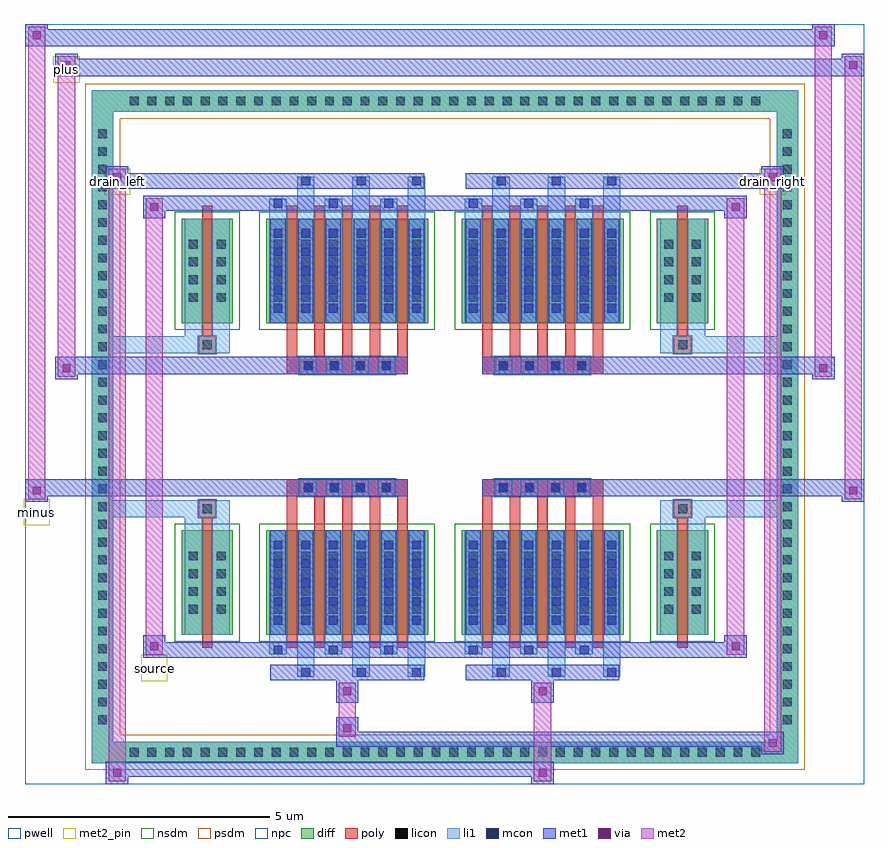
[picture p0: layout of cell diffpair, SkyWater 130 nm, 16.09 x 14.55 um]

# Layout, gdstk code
import gdstk
lib = gdstk.Library(unit=1e-6, precision=5e-09)
def R(c, l, rs):  # rectangles x0, y0, x1, y1
    for r in rs: c.add(gdstk.rectangle(r[:2], r[2:], *l))
def A(c, l, x, y, w, h, nx, ny, dx, dy):  # array of equal rectangles
    R(c, l, [(x+i*dx, y+j*dy, x+i*dx+w, y+j*dy+h) for i in range(nx) for j in range(ny)])
def P(c, l, *ps):  # polygons
    for p in ps: c.add(gdstk.Polygon(p, *l))
pwell = (64, 44)
diff = (65, 20)
poly = (66, 20)
licon = (66, 44)
li1 = (67, 20)
mcon = (67, 44)
met1 = (68, 20)
via = (68, 44)
met2_pin = (69, 16)
met2 = (69, 20)
nsdm = (93, 44)
psdm = (94, 20)
npc = (95, 20)

diffpair = lib.new_cell('diffpair')
R(diffpair, pwell, [(-8.03,-6.84,8.03,7.71), (-5.35,-5.03,-0.01,-0.805), (0.01,-5.03,5.35,-0.805), (-5.35,0.805,-0.01,5.03), (0.01,0.805,5.35,5.03)])
A(diffpair, diff, -6.155, -6.44, 0.41, 0.41, 36, 2, 0.34, 12.47)
A(diffpair, diff, -6.76, -5.815, 0.41, 0.41, 1, 34, 0, 0.34)
A(diffpair, diff, 6.35, -5.815, 0.41, 0.41, 1, 34, 0, 0.34)
R(diffpair, diff, [(-6.155,-6.44,6.155,-6.03), (-6.76,-5.815,-6.35,5.815), (6.35,-5.815,6.76,5.815), (-5.04,-3.985,-4.06,-1.985), (-3.42,-3.985,-0.32,-1.985), (0.32,-3.985,3.42,-1.985), (4.06,-3.985,5.04,-1.985), (-5.04,1.985,-4.06,3.985), (-3.42,1.985,-0.32,3.985), (0.32,1.985,3.42,3.985), (4.06,1.985,5.04,3.985), (-6.155,6.03,6.155,6.44)])
P(diffpair, diff, [(6.76,6.44),(-6.76,6.44),(-6.76,-6.03),(-6.35,-6.03),(-6.35,6.03),(6.35,6.03),(6.35,-6.03),(-6.35,-6.03),(-6.76,-6.03),(-6.76,-6.44),(6.76,-6.44)])
A(diffpair, poly, -3.03, -4.235, 0.2, 2.5, 5, 2, 0.53, 5.97)
A(diffpair, poly, 0.71, -4.235, 0.2, 2.5, 5, 2, 0.53, 5.97)
A(diffpair, poly, -3.03, -1.735, 0.2, 0.4, 5, 2, 0.53, 3.07)
A(diffpair, poly, 0.71, -1.735, 0.2, 0.4, 5, 2, 0.53, 3.07)
A(diffpair, poly, -2.785, -1.335, 0.33, 0.33, 4, 2, 0.5, 2.34)
A(diffpair, poly, 0.955, -1.335, 0.33, 0.33, 4, 2, 0.5, 2.34)
R(diffpair, poly, [(-4.65,-4.235,-4.45,-1.735), (4.45,-4.235,4.65,-1.735), (-4.715,-1.735,-4.385,-1.405), (-4.715,-1.735,-4.385,-1.405), (4.385,-1.735,4.715,-1.405), (4.385,-1.735,4.715,-1.405), (-3.03,-1.335,-0.71,-1.005), (0.71,-1.335,3.03,-1.005), (-3.03,1.005,-0.71,1.335), (0.71,1.005,3.03,1.335), (-4.715,1.405,-4.385,1.735), (-4.715,1.405,-4.385,1.735), (4.385,1.405,4.715,1.735), (4.385,1.405,4.715,1.735), (-4.65,1.735,-4.45,4.235), (4.45,1.735,4.65,4.235)])
A(diffpair, licon, -6.035, -6.32, 0.17, 0.17, 36, 2, 0.34, 12.47)
A(diffpair, licon, -6.64, -5.695, 0.17, 0.17, 1, 34, 0, 0.34)
A(diffpair, licon, 6.47, -5.695, 0.17, 0.17, 1, 34, 0, 0.34)
A(diffpair, licon, -4.9, -3.58, 0.17, 0.17, 1, 4, 0, 0.34)
A(diffpair, licon, -4.37, -3.58, 0.17, 0.17, 1, 4, 0, 0.34)
A(diffpair, licon, -3.28, -3.58, 0.17, 0.17, 6, 4, 0.53, 0.34)
A(diffpair, licon, 0.46, -3.58, 0.17, 0.17, 6, 4, 0.53, 0.34)
A(diffpair, licon, 4.2, -3.58, 0.17, 0.17, 1, 4, 0, 0.34)
A(diffpair, licon, 4.73, -3.58, 0.17, 0.17, 1, 4, 0, 0.34)
A(diffpair, licon, -2.705, -1.255, 0.17, 0.17, 4, 2, 0.5, 2.34)
A(diffpair, licon, 1.035, -1.255, 0.17, 0.17, 4, 2, 0.5, 2.34)
A(diffpair, licon, -4.9, 2.39, 0.17, 0.17, 1, 4, 0, 0.34)
A(diffpair, licon, -4.37, 2.39, 0.17, 0.17, 1, 4, 0, 0.34)
A(diffpair, licon, -3.28, 2.39, 0.17, 0.17, 6, 4, 0.53, 0.34)
A(diffpair, licon, 0.46, 2.39, 0.17, 0.17, 6, 4, 0.53, 0.34)
A(diffpair, licon, 4.2, 2.39, 0.17, 0.17, 1, 4, 0, 0.34)
A(diffpair, licon, 4.73, 2.39, 0.17, 0.17, 1, 4, 0, 0.34)
R(diffpair, licon, [(-4.635,-1.655,-4.465,-1.485), (4.465,-1.655,4.635,-1.485), (-4.635,1.485,-4.465,1.655), (4.465,1.485,4.635,1.655)])
A(diffpair, li1, -6.115, -6.4, 0.33, 0.33, 36, 2, 0.34, 12.47)
A(diffpair, li1, -6.72, -5.775, 0.33, 0.33, 1, 34, 0, 0.34)
A(diffpair, li1, 6.39, -5.775, 0.33, 0.33, 1, 34, 0, 0.34)
A(diffpair, li1, -2.83, -4.79, 0.33, 0.805, 3, 2, 1.06, 8.775)
A(diffpair, li1, -2.75, -4.79, 0.17, 0.17, 3, 2, 1.06, 9.41)
A(diffpair, li1, 0.91, -4.79, 0.33, 0.805, 3, 2, 1.06, 8.775)
A(diffpair, li1, 0.99, -4.79, 0.17, 0.17, 3, 2, 1.06, 9.41)
A(diffpair, li1, -3.36, -4.36, 0.33, 0.375, 3, 2, 1.06, 8.345)
A(diffpair, li1, -3.28, -4.36, 0.17, 0.17, 3, 2, 1.06, 8.55)
A(diffpair, li1, 0.38, -4.36, 0.33, 0.375, 3, 2, 1.06, 8.345)
A(diffpair, li1, 0.46, -4.36, 0.17, 0.17, 3, 2, 1.06, 8.55)
A(diffpair, li1, -3.36, -3.985, 0.33, 2, 6, 2, 0.53, 5.97)
A(diffpair, li1, 0.38, -3.985, 0.33, 2, 6, 2, 0.53, 5.97)
A(diffpair, li1, -3.28, -3.79, 0.17, 0.17, 6, 5, 0.53, 0.36)
A(diffpair, li1, -3.28, -3.79, 0.17, 1.61, 6, 2, 0.53, 5.97)
A(diffpair, li1, 0.46, -3.79, 0.17, 0.17, 6, 5, 0.53, 0.36)
A(diffpair, li1, 0.46, -3.79, 0.17, 1.61, 6, 2, 0.53, 5.97)
A(diffpair, li1, -4.98, -3.66, 0.33, 0.33, 1, 4, 0, 0.34)
A(diffpair, li1, -4.45, -3.66, 0.33, 0.33, 1, 4, 0, 0.34)
A(diffpair, li1, -3.36, -3.66, 0.33, 0.33, 6, 4, 0.53, 0.34)
A(diffpair, li1, 0.38, -3.66, 0.33, 0.33, 6, 4, 0.53, 0.34)
A(diffpair, li1, 4.12, -3.66, 0.33, 0.33, 1, 4, 0, 0.34)
A(diffpair, li1, 4.65, -3.66, 0.33, 0.33, 1, 4, 0, 0.34)
A(diffpair, li1, -2.785, -1.335, 0.33, 0.33, 4, 2, 0.5, 2.34)
A(diffpair, li1, 0.955, -1.335, 0.33, 0.33, 4, 2, 0.5, 2.34)
A(diffpair, li1, -3.28, 2.18, 0.17, 0.17, 6, 5, 0.53, 0.36)
A(diffpair, li1, 0.46, 2.18, 0.17, 0.17, 6, 5, 0.53, 0.36)
A(diffpair, li1, -4.98, 2.31, 0.33, 0.33, 1, 4, 0, 0.34)
A(diffpair, li1, -4.45, 2.31, 0.33, 0.33, 1, 4, 0, 0.34)
A(diffpair, li1, -3.36, 2.31, 0.33, 0.33, 6, 4, 0.53, 0.34)
A(diffpair, li1, 0.38, 2.31, 0.33, 0.33, 6, 4, 0.53, 0.34)
A(diffpair, li1, 4.12, 2.31, 0.33, 0.33, 1, 4, 0, 0.34)
A(diffpair, li1, 4.65, 2.31, 0.33, 0.33, 1, 4, 0, 0.34)
R(diffpair, li1, [(-6.76,-6.44,-6.35,-6.03), (-6.76,-6.44,-6.35,-6.03), (-6.35,-6.44,6.35,-6.03), (6.35,-6.44,6.76,-6.03), (6.35,-6.44,6.76,-6.03), (-6.76,-6.03,-6.35,6.03), (6.35,-6.03,6.76,6.03), (-4.98,-3.985,-4.65,-1.985), (-4.45,-3.985,-4.12,-1.985), (4.12,-3.985,4.45,-1.985), (4.65,-3.985,4.98,-1.985), (-4.98,-1.985,-4.65,-1.405), (-4.45,-1.985,-4.12,-1.405), (4.12,-1.985,4.45,-1.405), (4.65,-1.985,4.98,-1.405), (-6.76,-1.735,-4.715,-1.405), (-4.98,-1.735,-4.715,-1.405), (-4.715,-1.735,-4.385,-1.405), (-4.385,-1.735,-4.12,-1.405), (4.12,-1.735,4.385,-1.405), (4.385,-1.735,4.715,-1.405), (4.385,-1.735,6.76,-1.405), (4.715,-1.735,4.98,-1.405), (-6.76,1.405,-4.715,1.735), (-4.98,1.405,-4.715,1.735), (-4.98,1.405,-4.65,1.985), (-4.715,1.405,-4.385,1.735), (-4.45,1.405,-4.12,1.985), (-4.385,1.405,-4.12,1.735), (4.12,1.405,4.385,1.735), (4.12,1.405,4.45,1.985), (4.385,1.405,4.715,1.735), (4.385,1.405,6.76,1.735), (4.65,1.405,4.98,1.985), (4.715,1.405,4.98,1.735), (-4.98,1.985,-4.65,3.985), (-4.45,1.985,-4.12,3.985), (4.12,1.985,4.45,3.985), (4.65,1.985,4.98,3.985), (-6.76,6.03,-6.35,6.44), (-6.76,6.03,-6.35,6.44), (-6.35,6.03,6.35,6.44), (6.35,6.03,6.76,6.44), (6.35,6.03,6.76,6.44)])
A(diffpair, mcon, -2.75, -4.79, 0.17, 0.17, 3, 2, 1.06, 9.41)
A(diffpair, mcon, 0.99, -4.79, 0.17, 0.17, 3, 2, 1.06, 9.41)
A(diffpair, mcon, -3.28, -4.36, 0.17, 0.17, 3, 2, 1.06, 8.55)
A(diffpair, mcon, 0.46, -4.36, 0.17, 0.17, 3, 2, 1.06, 8.55)
A(diffpair, mcon, -3.28, -3.79, 0.17, 0.17, 6, 5, 0.53, 0.36)
A(diffpair, mcon, 0.46, -3.79, 0.17, 0.17, 6, 5, 0.53, 0.36)
A(diffpair, mcon, -2.705, -1.255, 0.17, 0.17, 4, 2, 0.5, 2.34)
A(diffpair, mcon, 1.035, -1.255, 0.17, 0.17, 4, 2, 0.5, 2.34)
A(diffpair, mcon, -3.28, 2.18, 0.17, 0.17, 6, 5, 0.53, 0.36)
A(diffpair, mcon, 0.46, 2.18, 0.17, 0.17, 6, 5, 0.53, 0.36)
A(diffpair, met1, -2.81, -4.85, 0.29, 0.29, 3, 2, 1.06, 9.41)
A(diffpair, met1, 0.93, -4.85, 0.29, 0.29, 3, 2, 1.06, 9.41)
A(diffpair, met1, -3.34, -4.42, 0.29, 0.29, 3, 2, 1.06, 8.55)
A(diffpair, met1, 0.4, -4.42, 0.29, 0.29, 3, 2, 1.06, 8.55)
A(diffpair, met1, -3.34, -3.985, 0.29, 2, 6, 2, 0.53, 5.97)
A(diffpair, met1, 0.4, -3.985, 0.29, 2, 6, 2, 0.53, 5.97)
A(diffpair, met1, -3.34, -3.85, 0.29, 0.29, 6, 5, 0.53, 0.36)
A(diffpair, met1, 0.4, -3.85, 0.29, 0.29, 6, 5, 0.53, 0.36)
A(diffpair, met1, -2.765, -1.315, 0.29, 0.29, 4, 2, 0.5, 2.34)
A(diffpair, met1, 0.975, -1.315, 0.29, 0.29, 4, 2, 0.5, 2.34)
A(diffpair, met1, -3.34, 2.12, 0.29, 0.29, 6, 5, 0.53, 0.36)
A(diffpair, met1, 0.4, 2.12, 0.29, 0.29, 6, 5, 0.53, 0.36)
R(diffpair, met1, [(-6.49,-6.84,-6.06,-6.41), (1.655,-6.84,2.085,-6.41), (-6.49,-6.7,2.085,-6.41), (6.06,-6.27,6.49,-5.84), (-2.085,-6.13,6.49,-5.84), (-2.085,-5.99,-1.655,-5.56), (-2.085,-5.28,-1.655,-4.85), (1.655,-5.28,2.085,-4.85), (-3.34,-4.85,-0.4,-4.56), (0.4,-4.85,3.34,-4.56), (-5.78,-4.42,-5.35,-3.99), (-5.78,-4.42,-3.34,-4.13), (-3.34,-4.42,-0.4,-4.13), (-0.4,-4.42,0.4,-4.13), (0.4,-4.42,3.34,-4.13), (3.34,-4.42,5.78,-4.13), (5.35,-4.42,5.78,-3.99), (-8.03,-1.435,-7.6,-1.005), (7.6,-1.435,8.03,-1.005), (-8.03,-1.335,-0.71,-1.005), (-3.03,-1.335,-0.71,-1.005), (0.71,-1.335,3.03,-1.005), (0.71,-1.335,8.03,-1.005), (-7.46,0.905,-7.03,1.335), (7.03,0.905,7.46,1.335), (-7.46,1.005,-3.03,1.335), (-3.03,1.005,-0.71,1.335), (0.71,1.005,3.03,1.335), (3.03,1.005,7.46,1.335), (-5.78,3.99,-5.35,4.42), (5.35,3.99,5.78,4.42), (-5.78,4.13,-3.34,4.42), (-3.34,4.13,-0.4,4.42), (-0.4,4.13,0.4,4.42), (0.4,4.13,3.34,4.42), (3.34,4.13,5.78,4.42), (-6.49,4.56,-6.06,4.99), (-6.49,4.56,-3.34,4.85), (-3.34,4.56,-0.4,4.85), (0.4,4.56,3.34,4.85), (3.34,4.56,6.49,4.85), (6.06,4.56,6.49,4.99), (-7.46,6.71,-7.03,7.14), (-7.46,6.71,-5.35,7.04), (-5.35,6.71,5.35,7.04), (5.35,6.71,8.03,7.04), (7.6,6.71,8.03,7.14), (-8.03,7.28,-7.6,7.71), (-8.03,7.28,-5.35,7.61), (-5.35,7.28,5.35,7.61), (5.35,7.28,7.46,7.61), (7.03,7.28,7.46,7.71)])
R(diffpair, via, [(-6.35,-6.7,-6.2,-6.55), (1.795,-6.7,1.945,-6.55), (6.2,-6.13,6.35,-5.98), (-1.945,-5.85,-1.795,-5.7), (-1.945,-5.14,-1.795,-4.99), (1.795,-5.14,1.945,-4.99), (-5.64,-4.28,-5.49,-4.13), (5.49,-4.28,5.64,-4.13), (-7.89,-1.295,-7.74,-1.145), (7.74,-1.295,7.89,-1.145), (-7.32,1.045,-7.17,1.195), (7.17,1.045,7.32,1.195), (-5.64,4.13,-5.49,4.28), (5.49,4.13,5.64,4.28), (-6.35,4.7,-6.2,4.85), (6.2,4.7,6.35,4.85), (-7.32,6.85,-7.17,7), (7.74,6.85,7.89,7), (-7.89,7.42,-7.74,7.57), (7.17,7.42,7.32,7.57)])
R(diffpair, met2_pin, [(-5.815,-4.87,-5.315,-4.37), (-8.065,-1.885,-7.565,-1.385), (-6.525,4.44,-6.025,4.94), (6.025,4.44,6.525,4.94), (-7.495,6.59,-6.995,7.09)])
R(diffpair, met2, [(-6.44,-6.79,-6.11,-6.46), (-6.44,-6.79,-6.11,4.94), (1.705,-6.79,2.035,-6.46), (1.705,-6.46,2.035,-5.23), (6.11,-6.22,6.44,-5.89), (6.11,-6.22,6.44,4.94), (-2.035,-5.94,-1.705,-5.61), (-2.035,-5.61,-1.705,-5.23), (-2.035,-5.23,-1.705,-4.9), (1.705,-5.23,2.035,-4.9), (-5.73,-4.37,-5.4,-4.04), (-5.73,-4.37,-5.4,4.37), (5.4,-4.37,5.73,-4.04), (5.4,-4.37,5.73,4.37), (-7.98,-1.385,-7.65,-1.055), (-7.98,-1.385,-7.65,7.66), (7.65,-1.385,7.98,-1.055), (7.65,-1.385,7.98,7.09), (-7.41,0.955,-7.08,1.285), (-7.41,0.955,-7.08,7.09), (7.08,0.955,7.41,1.285), (7.08,0.955,7.41,7.66), (-5.73,4.04,-5.4,4.37), (5.4,4.04,5.73,4.37), (-6.44,4.61,-6.11,4.94), (6.11,4.61,6.44,4.94), (-7.41,6.76,-7.08,7.09), (7.65,6.76,7.98,7.09), (-7.98,7.33,-7.65,7.66), (7.08,7.33,7.41,7.66)])
P(diffpair, met2, [(7.98,-1.385),(7.98,-1.385),(7.98,-1.055),(7.98,-1.055)],
  [(7.98,6.76),(7.98,6.76),(7.98,7.09),(7.98,7.09)],
  [(-7.65,-1.385),(-7.65,-1.385),(-7.65,-1.055),(-7.65,-1.055)],
  [(-7.65,7.33),(-7.65,7.33),(-7.65,7.66),(-7.65,7.66)],
  [(7.41,0.955),(7.41,0.955),(7.41,1.285),(7.41,1.285)],
  [(7.41,7.33),(7.41,7.33),(7.41,7.66),(7.41,7.66)],
  [(-7.08,0.955),(-7.08,0.955),(-7.08,1.285),(-7.08,1.285)],
  [(-7.08,6.76),(-7.08,6.76),(-7.08,7.09),(-7.08,7.09)],
  [(-6.11,-6.79),(-6.11,-6.79),(-6.11,-6.46),(-6.11,-6.46)],
  [(-6.11,4.61),(-6.11,4.61),(-6.11,4.94),(-6.11,4.94)],
  [(6.44,-6.22),(6.44,-6.22),(6.44,-5.89),(6.44,-5.89)],
  [(6.44,4.61),(6.44,4.61),(6.44,4.94),(6.44,4.94)],
  [(-5.4,-4.37),(-5.4,-4.37),(-5.4,-4.04),(-5.4,-4.04)],
  [(-5.4,4.04),(-5.4,4.04),(-5.4,4.37),(-5.4,4.37)],
  [(5.73,-4.37),(5.73,-4.37),(5.73,-4.04),(5.73,-4.04)],
  [(5.73,4.04),(5.73,4.04),(5.73,4.37),(5.73,4.37)])
R(diffpair, nsdm, [(-5.17,-4.115,-3.93,-1.855), (-3.55,-4.115,-0.19,-1.855), (0.19,-4.115,3.55,-1.855), (3.93,-4.115,5.17,-1.855), (-5.17,1.855,-3.93,4.115), (-3.55,1.855,-0.19,4.115), (0.19,1.855,3.55,4.115), (3.93,1.855,5.17,4.115)])
P(diffpair, psdm, [(6.89,6.57),(-6.89,6.57),(-6.89,-5.9),(-6.22,-5.9),(-6.22,5.9),(6.22,5.9),(6.22,-5.9),(-6.22,-5.9),(-6.89,-5.9),(-6.89,-6.57),(6.89,-6.57)])
A(diffpair, npc, -2.805, -1.355, 0.37, 0.37, 4, 2, 0.5, 2.34)
A(diffpair, npc, 0.935, -1.355, 0.37, 0.37, 4, 2, 0.5, 2.34)
R(diffpair, npc, [(-4.735,-1.755,-4.365,-1.385), (4.365,-1.755,4.735,-1.385), (-2.805,-1.355,-1.935,-0.985), (-2.805,-1.355,-1.935,-0.985), (-2.305,-1.355,-1.435,-0.985), (-2.305,-1.355,-1.435,-0.985), (-1.805,-1.355,-0.935,-0.985), (-1.805,-1.355,-0.935,-0.985), (0.935,-1.355,1.805,-0.985), (0.935,-1.355,1.805,-0.985), (1.435,-1.355,2.305,-0.985), (1.435,-1.355,2.305,-0.985), (1.935,-1.355,2.805,-0.985), (1.935,-1.355,2.805,-0.985), (-2.805,0.985,-1.935,1.355), (-2.805,0.985,-1.935,1.355), (-2.305,0.985,-1.435,1.355), (-2.305,0.985,-1.435,1.355), (-1.805,0.985,-0.935,1.355), (-1.805,0.985,-0.935,1.355), (0.935,0.985,1.805,1.355), (0.935,0.985,1.805,1.355), (1.435,0.985,2.305,1.355), (1.435,0.985,2.305,1.355), (1.935,0.985,2.805,1.355), (1.935,0.985,2.805,1.355), (-4.735,1.385,-4.365,1.755), (4.365,1.385,4.735,1.755)])
diffpair.add(gdstk.Label('minus', (-7.815,-1.635), layer=69, texttype=5))
diffpair.add(gdstk.Label('drain_right', (6.275,4.69), layer=69, texttype=5))
diffpair.add(gdstk.Label('drain_left', (-6.275,4.69), layer=69, texttype=5))
diffpair.add(gdstk.Label('source', (-5.565,-4.62), layer=69, texttype=5))
diffpair.add(gdstk.Label('plus', (-7.245,6.84), layer=69, texttype=5))

lib.write_gds('diffpair.gds')
